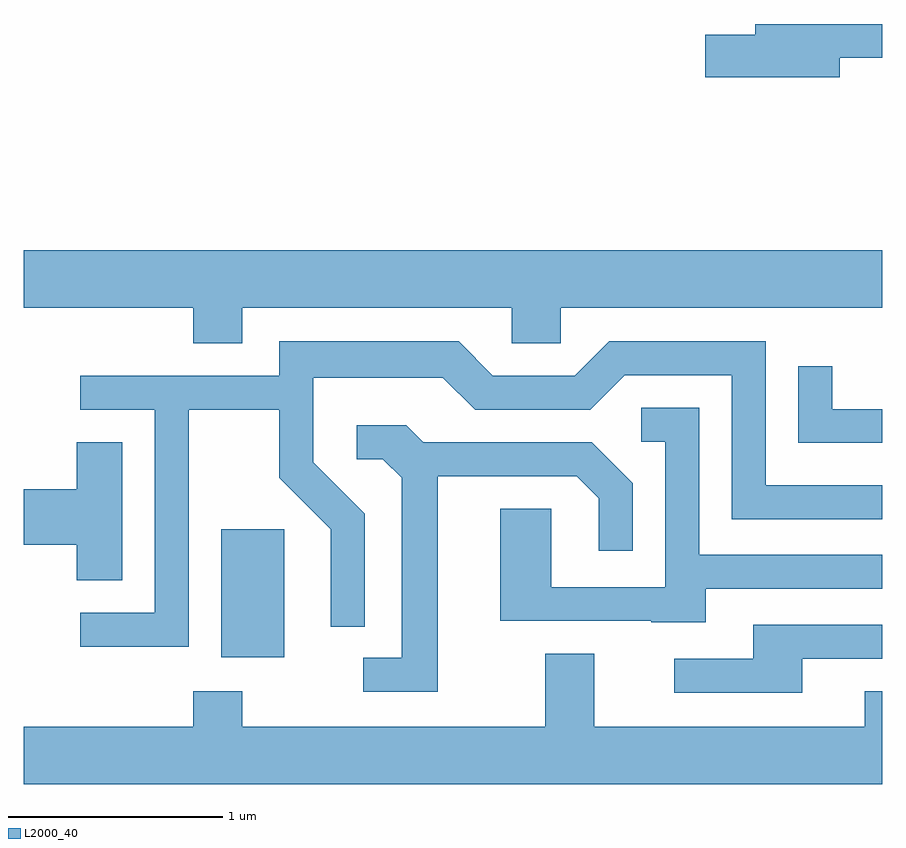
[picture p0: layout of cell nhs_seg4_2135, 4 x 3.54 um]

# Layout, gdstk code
import gdstk
lib = gdstk.Library(unit=1e-6, precision=1e-09)
def R(c, l, rs):  # rectangles x0, y0, x1, y1
    for r in rs: c.add(gdstk.rectangle(r[:2], r[2:], *l))
def P(c, l, *ps):  # polygons
    for p in ps: c.add(gdstk.Polygon(p, *l))
L2000_40 = (2000, 40)

nhs_seg4_2135 = lib.new_cell('nhs_seg4_2135')
R(nhs_seg4_2135, L2000_40, [(248.531,1308.646,248.824,1309.244)])
P(nhs_seg4_2135, L2000_40, [(251.414,1311.441),(251.611,1311.441),(251.611,1311.599),(251.021,1311.599),(251.021,1311.549),(250.786,1311.549),(250.786,1311.351),(251.414,1311.351)],
  [(248.629,1310.276),(249.886,1310.276),(249.886,1310.111),(250.114,1310.111),(250.114,1310.276),(251.611,1310.276),(251.611,1310.544),(247.611,1310.544),(247.611,1310.276),(248.401,1310.276),(248.401,1310.111),(248.629,1310.111)],
  [(248.379,1309.801),(248.801,1309.801),(248.801,1309.484),(249.041,1309.244),(249.041,1308.788),(249.199,1308.788),(249.199,1309.317),(248.959,1309.557),(248.959,1309.951),(249.564,1309.951),(249.714,1309.801),(250.252,1309.801),(250.412,1309.961),(250.911,1309.961),(250.911,1309.291),(251.611,1309.291),(251.611,1309.449),(251.069,1309.449),(251.069,1310.119),(250.339,1310.119),(250.179,1309.959),(249.797,1309.959),(249.637,1310.119),(248.801,1310.119),(248.801,1309.959),(247.873,1309.959),(247.873,1309.801),(248.221,1309.801),(248.221,1308.854),(247.873,1308.854),(247.873,1308.696),(248.379,1308.696)],
  [(251.611,1309.804),(251.379,1309.804),(251.379,1310.003),(251.221,1310.003),(251.221,1309.646),(251.611,1309.646)],
  [(250.789,1308.966),(251.611,1308.966),(251.611,1309.124),(250.759,1309.124),(250.759,1309.809),(250.488,1309.809),(250.488,1309.651),(250.601,1309.651),(250.601,1308.974),(250.069,1308.974),(250.069,1309.339),(249.831,1309.339),(249.831,1308.816),(250.535,1308.816),(250.535,1308.811),(250.789,1308.811)],
  [(249.539,1309.491),(250.189,1309.491),(250.291,1309.389),(250.291,1309.143),(250.449,1309.143),(250.449,1309.457),(250.257,1309.649),(249.472,1309.649),(249.392,1309.729),(249.163,1309.729),(249.163,1309.571),(249.284,1309.571),(249.371,1309.484),(249.371,1308.644),(249.193,1308.644),(249.193,1308.486),(249.539,1308.486)],
  [(248.069,1309.649),(247.856,1309.649),(247.856,1309.429),(247.611,1309.429),(247.611,1309.171),(247.856,1309.171),(247.856,1309.006),(248.069,1309.006)],
  [(251.239,1308.641),(251.611,1308.641),(251.611,1308.799),(251.011,1308.799),(251.011,1308.639),(250.643,1308.639),(250.643,1308.481),(251.239,1308.481)],
  [(251.611,1308.489),(251.531,1308.489),(251.531,1308.324),(250.269,1308.324),(250.269,1308.664),(250.041,1308.664),(250.041,1308.324),(248.629,1308.324),(248.629,1308.489),(248.401,1308.489),(248.401,1308.324),(247.611,1308.324),(247.611,1308.056),(251.611,1308.056)])

lib.write_gds('nhs_seg4_2135.gds')
